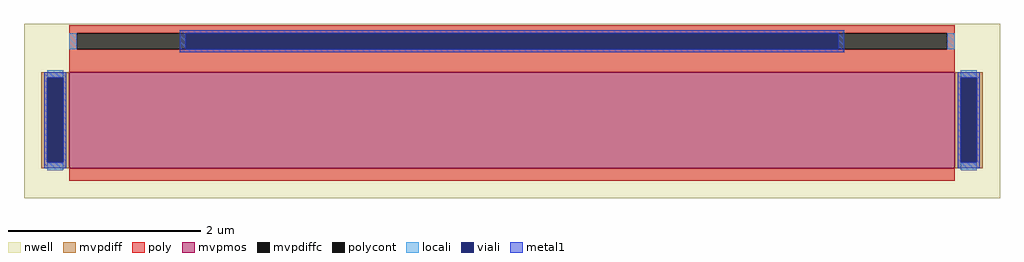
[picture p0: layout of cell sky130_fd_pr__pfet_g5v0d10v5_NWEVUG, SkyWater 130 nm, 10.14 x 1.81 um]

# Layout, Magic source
magic
tech sky130A
magscale 1 2
<< nwell >>
rect -1014 -198 1014 164
<< mvpmos >>
rect -920 -136 920 64
<< mvpdiff >>
rect -978 52 -920 64
rect -978 -124 -966 52
rect -932 -124 -920 52
rect -978 -136 -920 -124
rect 920 52 978 64
rect 920 -124 932 52
rect 966 -124 978 52
rect 920 -136 978 -124
<< mvpdiffc >>
rect -966 -124 -932 52
rect 932 -124 966 52
<< poly >>
rect -920 145 920 161
rect -920 111 -904 145
rect 904 111 920 145
rect -920 64 920 111
rect -920 -162 920 -136
<< polycont >>
rect -904 111 904 145
<< locali >>
rect -920 111 -904 145
rect 904 111 920 145
rect -966 52 -932 68
rect -966 -140 -932 -124
rect 932 52 966 68
rect 932 -140 966 -124
<< viali >>
rect -678 111 678 145
rect -966 -124 -932 52
rect 932 -124 966 52
<< metal1 >>
rect -690 145 690 151
rect -690 111 -678 145
rect 678 111 690 145
rect -690 105 690 111
rect -972 52 -926 64
rect -972 -124 -966 52
rect -932 -124 -926 52
rect -972 -136 -926 -124
rect 926 52 972 64
rect 926 -124 932 52
rect 966 -124 972 52
rect 926 -136 972 -124
<< properties >>
string gencell sky130_fd_pr__pfet_g5v0d10v5
string library sky130
string parameters w 1 l 9.2 m 1 nf 1 diffcov 100 polycov 100 guard 0 glc 1 grc 1 gtc 1 gbc 1 tbcov 100 rlcov 100 topc 1 botc 0 poverlap 0 doverlap 1 lmin 0.15 wmin 0.42 compatible {sky130_fd_pr__pfet_01v8  sky130_fd_pr__pfet_01v8_lvt sky130_fd_pr__pfet_01v8_hvt  sky130_fd_pr__pfet_g5v0d10v5} full_metal 1 viasrc 100 viadrn 100 viagate 75 viagb 0 viagr 0 viagl 0 viagt 0
<< end >>
